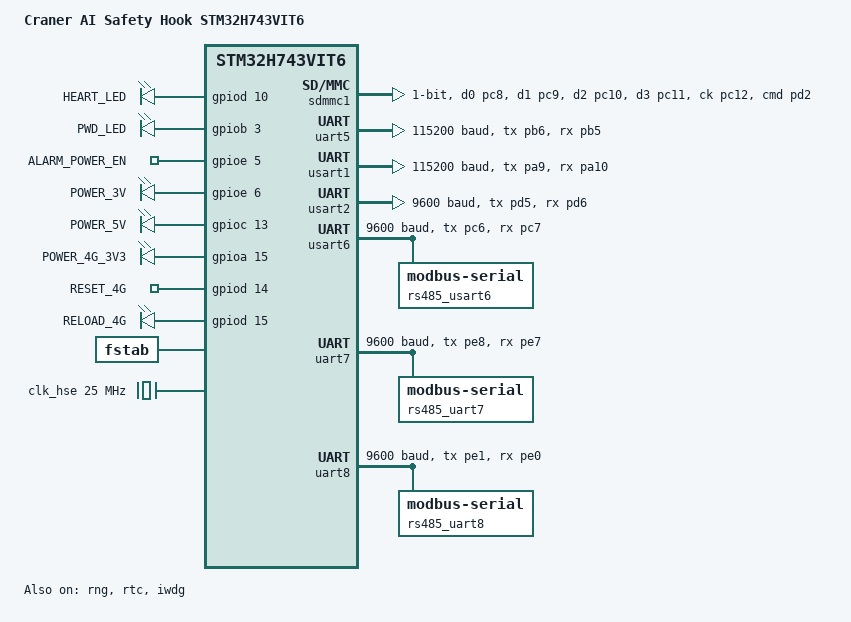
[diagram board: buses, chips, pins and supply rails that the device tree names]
/*
 * SPDX-License-Identifier: Apache-2.0
 *
 * Craner AI Safety Hook (tower-crane hook safety controller)
 * MCU : STM32H743VIT6 on the H743 core board with 4x RS485
 *       (board schematic in docs/), HSE 25 MHz, LSE 32.768 kHz
 *
 * Pin map is taken from crane_ai_satefy_hook.ioc of the original
 * STM32CubeIDE firmware:
 *   uart5  (PB6/PB5,  115200) : shell / console / printf
 *   usart1 (PA9/PA10, 115200) : 4G / cloud transparent module (usr.cn)
 *   usart2 (PD5/PD6,  9600)   : spare (initialised but unused in the old fw)
 *   usart3 (PD8/PD9,  115200) : spare (no GPS module on this product)
 *   usart6 (PC6/PC7,  9600)   : RS485 - BMS Modbus RTU master
 *   uart7  (PE8/PE7,  9600)   : RS485 - sound & light alarm module master
 *   uart8  (PE1/PE0,  9600)   : RS485 - host controller Modbus RTU slave
 *
 * RS485 ports have auto-direction transceivers on this board, so no
 * de-gpios property is required.
 */

/dts-v1/;
#include <st/h7/stm32h743Xi.dtsi>
#include <st/h7/stm32h743vitx-pinctrl.dtsi>
#include <zephyr/dt-bindings/gpio/gpio.h>
#include <zephyr/dt-bindings/dma/stm32_dma.h>

/ {
	model = "Craner AI Safety Hook STM32H743VIT6";
	compatible = "craner,craner-hook-stm32h743vit6";

	chosen {
		zephyr,sram = &sram0;
		zephyr,flash = &flash0;
		zephyr,code-partition = &slot0_partition;
		zephyr,console = &uart5;
		zephyr,shell-uart = &uart5;
		zephyr,dtcm = &dtcm;
		/* Persistent device parameters (Zephyr Settings/ZMS) live on the
		 * on-board QSPI flash, next to the persistent Modbus registers.
		 */
		zephyr,settings-partition = &app_storage_partition;
	};

	aliases {
		watchdog0 = &iwdg;
		/* LEDs */
		heartbeat-led = &heartbeat_led;
		pwr-led = &pwr_led;
		/* Hook actuator / power outputs */
		alarm-power-en = &alarm_power_en;
		power-3v = &power_3v;
		power-5v = &power_5v;
		modem-power = &modem_power;
		modem-reset = &modem_reset;
		modem-reload = &modem_reload;
	};

	gpio_outputs {
		compatible = "gpio-leds";

		/* PD10: error/heart LED driven by the LED animation engine. */
		heartbeat_led: heartbeat-led {
			gpios = <&gpiod 10 GPIO_ACTIVE_HIGH>;
			label = "HEART_LED";
		};

		/* PB3: mirrors the Modbus flash-light command register (driven by
		 * app/hook_alarm / app/hook_heartbeat, not the supply enable).
		 */
		pwr_led: pwr-led {
			gpios = <&gpiob 3 GPIO_ACTIVE_HIGH>;
			label = "PWD_LED";
		};

		/* PE5: supply enable of the sound & light alarm ("警报灯供电使能"
		 * on the schematic, FLASH_LIGHT_POWER_EN in the .ioc). The host
		 * heartbeat supervision cuts it after 60 s of silence.
		 */
		alarm_power_en: alarm-power-en {
			gpios = <&gpioe 5 GPIO_ACTIVE_HIGH>;
			label = "ALARM_POWER_EN";
		};

		/* Load switches (same pinout as the craner general board). */
		power_3v: power-3v {
			gpios = <&gpioe 6 GPIO_ACTIVE_HIGH>;
			label = "POWER_3V";
		};

		power_5v: power-5v {
			gpios = <&gpioc 13 GPIO_ACTIVE_HIGH>;
			label = "POWER_5V";
		};

		/* PA15: 4G module 3.3 V rail. */
		modem_power: modem-power {
			gpios = <&gpioa 15 GPIO_ACTIVE_HIGH>;
			label = "POWER_4G_3V3";
		};

		/* PD14 / PD15: 4G module reset and reload (active high). */
		modem_reset: modem-reset {
			gpios = <&gpiod 14 GPIO_ACTIVE_HIGH>;
			label = "RESET_4G";
		};

		modem_reload: modem-reload {
			gpios = <&gpiod 15 GPIO_ACTIVE_HIGH>;
			label = "RELOAD_4G";
		};
	};

	/* SD card (offline event log storage), FATFS mount point /SD:. */
	fstab {
		compatible = "zephyr,fstab";

		sd_mp: sd_mp {
			compatible = "zephyr,fstab,fatfs";
			disk-access;
			mount-point = "/SD:";
		};
	};
};

/*
 * SDMMC1 (PC8-PC12 + PD2): same pinout as the craner general H743 PCB and the
 * AI safety car, the SD card seat has no card-detect GPIO.
 *
 * Clock: PLL1Q is 48 MHz (960 MHz VCO / div-q 20), the same domain clock the
 * car board feeds to SDMMC, so the card uses the same clk-div 2 setting.
 */
&sdmmc1 {
	pinctrl-0 = <&sdmmc1_d0_pc8 &sdmmc1_d1_pc9
		     &sdmmc1_d2_pc10 &sdmmc1_d3_pc11
		     &sdmmc1_ck_pc12 &sdmmc1_cmd_pd2>;
	pinctrl-names = "default";
	disk-name = "SD";
	bus-width = <1>;
	clk-div = <2>;
	status = "okay";
};

/*
 * MCUboot layout (2 MiB internal flash, swap-using-move):
 *   0x08000000..0x0801FFFF : MCUboot (flash bank 1)
 *   0x08020000..0x080FFFFF : slot0 - running image (896 KiB, flash bank 1)
 *   0x08100000..0x081BFFFF : slot1 - update image  (768 KiB, flash bank 2)
 *   0x081C0000..0x081DFFFF : coredump partition
 *   0x081E0000..0x081FFFFF : app storage (reserved)
 *
 * slot1 is deliberately aligned to the flash bank 2 boundary: the running
 * application executes from bank 1, so an application-side OTA download can
 * erase/program slot1 in bank 2 without stalling the core (STM32H7 read
 * while write restriction). This is the same layout as craner_ai_safety_car.
 *
 * Everything that has to be written at runtime (persistent registers today,
 * device parameters / offline logs later) lives on the on-board W25Q64 QSPI
 * NOR flash, so the internal flash keeps its OTA layout untouched.
 */
&flash0 {
	partitions {
		compatible = "fixed-partitions";
		#address-cells = <1>;
		#size-cells = <1>;

		boot_partition: partition@0 {
			label = "mcuboot";
			reg = <0x00000000 0x00020000>;
		};

		slot0_partition: partition@20000 {
			label = "image-0";
			reg = <0x00020000 0x000e0000>;
		};

		slot1_partition: partition@100000 {
			label = "image-1";
			reg = <0x00100000 0x000c0000>;
		};

		app_storage_partition: partition@1c0000 {
			label = "app-storage";
			reg = <0x001c0000 0x00040000>;
		};
	};
};

/*
 * On-board W25Q64JVSSIQ (8 MiB QSPI NOR, U12 on the core board schematic:
 * PB10 NCS, PB2 CLK, PD11 IO0, PD12 IO1, PD13 IO2, PE2 IO3).
 *
 * Partitioning follows craner_ai_safety_car:
 *   0x000000..0x01FFFF : device parameter store (Zephyr Settings/ZMS)
 *   0x020000..0x021FFF : persistent Modbus registers (modbus_data_model),
 *                        two 4 KiB banks, i.e. one NOR sector per bank
 *   0x022000..0x7FFFFF : reserve (offline logs / future use)
 */
&quadspi {
	pinctrl-0 = <&quadspi_bk1_io0_pd11
		     &quadspi_bk1_io1_pd12
		     &quadspi_bk1_io2_pe2
		     &quadspi_bk1_io3_pd13
		     &quadspi_bk1_ncs_pb10
		     &quadspi_clk_pb2>;
	pinctrl-names = "default";
	status = "disabled";

	w25q64: qspi-nor-flash@0 {
		compatible = "st,stm32-qspi-nor";
		reg = <0>;
		/* st,stm32-qspi-nor size property is in BITS: 8 MiB = 64 Mbit. */
		size = <DT_SIZE_M(64)>;
		qspi-max-frequency = <40000000>;
		spi-bus-width = <4>;
		writeoc = "PP_1_1_4";
		status = "disabled";

		partitions {
			compatible = "fixed-partitions";
			#address-cells = <1>;
			#size-cells = <1>;

			param_store_partition: partition@0 {
				label = "param-store";
				reg = <0x00000000 0x00020000>;
			};

			modbus_store_partition: partition@20000 {
				label = "modbus-store";
				reg = <0x00020000 0x00002000>;
			};

			reserve_partition: partition@22000 {
				label = "reserve";
				reg = <0x00022000 0x007de000>;
			};
		};
	};
};

&clk_hse {
	clock-frequency = <DT_FREQ_M(25)>;
	status = "okay";
};

&clk_hsi48 {
	status = "okay";
};

&clk_lse {
	status = "okay";
};

/*
 * Clock tree copied from the old CubeMX firmware (and from the upstream
 * Zephyr nucleo_h743zi board, which also runs a H743 at 480 MHz):
 *
 *   HSE 25 MHz / div-m 5 = 5 MHz VCO input
 *   x mul-n 192          = 960 MHz VCO (wide range)
 *   / div-p 2            = 480 MHz SYSCLK (CPU, VOS0)
 *   / hpre 2             = 240 MHz HCLK/AXI
 *   / d?ppre 2           = 120 MHz APB1/2/3/4
 *
 * The Zephyr STM32H7 clock driver selects VOS0 before programming the PLL
 * and re-programs the flash wait states for the new HCLK, so only the PLL
 * and prescaler values below have to be kept consistent.
 */
&pll {
	div-m = <5>;
	mul-n = <192>;
	div-p = <2>;
	div-q = <20>;
	div-r = <2>;
	clocks = <&clk_hse>;
	status = "okay";
};

&rcc {
	clocks = <&pll>;
	clock-frequency = <DT_FREQ_M(480)>;
	d1cpre = <1>;
	hpre = <2>;
	d1ppre = <2>;
	d2ppre1 = <2>;
	d2ppre2 = <2>;
	d3ppre = <2>;
};

&pwr {
	power-supply = "ldo";
};

&rng {
	status = "okay";
};

/* Internal RTC on LSE. Alarm B wakes the MCU from STANDBY. */
&rtc {
	clocks = <&rcc STM32_CLOCK(APB4, 16)>,
		 <&rcc STM32_SRC_LSE RTC_SEL(1)>;
	status = "okay";
};

&bbram {
	status = "okay";
};

&iwdg {
	status = "okay";
};

&uart5 {
	pinctrl-0 = <&uart5_tx_pb6 &uart5_rx_pb5>;
	pinctrl-names = "default";
	current-speed = <115200>;
	status = "okay";
};

/* 4G / cloud transparent module. */
&usart1 {
	pinctrl-0 = <&usart1_tx_pa9 &usart1_rx_pa10>;
	pinctrl-names = "default";
	current-speed = <115200>;
	/* USART1 RX/TX requests are 41/42 on STM32H7. */
	dmas = <&dmamux1 0 42 (STM32_DMA_PERIPH_TX | STM32_DMA_PRIORITY_HIGH)>,
	       <&dmamux1 1 41 (STM32_DMA_PERIPH_RX | STM32_DMA_PRIORITY_HIGH)>;
	dma-names = "tx", "rx";
	status = "okay";
};

/* DMA controller feeding USART1 async RX/TX. */
&dma1 {
	status = "okay";
};

&dmamux1 {
	status = "okay";
};

/* Spare port (initialised but unused by the original firmware). */
&usart2 {
	pinctrl-0 = <&usart2_tx_pd5 &usart2_rx_pd6>;
	pinctrl-names = "default";
	current-speed = <9600>;
	status = "okay";
};

/* Spare port: the GPS module was removed from this product, the RTC is
 * calibrated over Modbus RTU / MQTT instead.
 */
&usart3 {
	pinctrl-0 = <&usart3_tx_pd8 &usart3_rx_pd9>;
	pinctrl-names = "default";
	current-speed = <115200>;
	status = "disabled";
};

/* RS485 - BMS Modbus RTU master. */
&usart6 {
	pinctrl-0 = <&usart6_tx_pc6 &usart6_rx_pc7>;
	pinctrl-names = "default";
	current-speed = <9600>;
	status = "okay";

	rs485_usart6: rs485-usart6 {
		compatible = "zephyr,modbus-serial";
		status = "okay";
	};
};

/* RS485 - sound & light alarm module Modbus RTU master. */
&uart7 {
	pinctrl-0 = <&uart7_tx_pe8 &uart7_rx_pe7>;
	pinctrl-names = "default";
	current-speed = <9600>;
	status = "okay";

	rs485_uart7: rs485-uart7 {
		compatible = "zephyr,modbus-serial";
		status = "okay";
	};
};

/* RS485 - host (上位机) Modbus RTU slave. */
&uart8 {
	pinctrl-0 = <&uart8_tx_pe1 &uart8_rx_pe0>;
	pinctrl-names = "default";
	current-speed = <9600>;
	status = "okay";

	rs485_uart8: rs485-uart8 {
		compatible = "zephyr,modbus-serial";
		status = "okay";
	};
};
